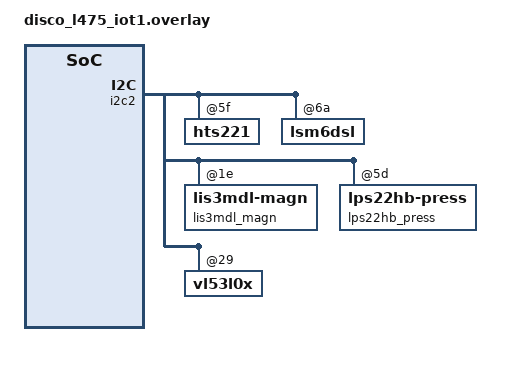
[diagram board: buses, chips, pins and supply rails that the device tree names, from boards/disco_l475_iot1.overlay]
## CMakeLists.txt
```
# Copyright 2020-2025 AVSystem <avsystem@avsystem.com>
#
# Licensed under the Apache License, Version 2.0 (the "License");
# you may not use this file except in compliance with the License.
# You may obtain a copy of the License at
#
#     http://www.apache.org/licenses/LICENSE-2.0
#
# Unless required by applicable law or agreed to in writing, software
# distributed under the License is distributed on an "AS IS" BASIS,
# WITHOUT WARRANTIES OR CONDITIONS OF ANY KIND, either express or implied.
# See the License for the specific language governing permissions and
# limitations under the License.

cmake_minimum_required(VERSION 3.13.1)
find_package(Zephyr REQUIRED HINTS $ENV{ZEPHYR_BASE})
project(anjay_zephyr_demo)
set(root_dir ${ANJAY_ZEPHYR_CLIENT_DIR})

if(CONFIG_PARTITION_MANAGER_ENABLED)
    if(CONFIG_ANJAY_ZEPHYR_FOTA)
        # defined in nrf/cmake/partition_manager.cmake
        if(NOT EXISTS "${static_configuration_file}")
            set(pm_missing_message "Missing static partition manager file for board: ${BOARD}")

            if(ACTIVE_BOARD_REVISION)
                set(pm_missing_message "${pm_missing_message}, rev: ${ACTIVE_BOARD_REVISION}")
            endif()

            if(CONF_FILE_BUILD_TYPE)
                set(pm_missing_message "${pm_missing_message}, build type: ${CONF_FILE_BUILD_TYPE}")
            endif()

            if(NOT SKIP_PM_CHECK)
                message(FATAL_ERROR "${pm_missing_message}. If you want to skip this warning, temporarily pass -DSKIP_PM_CHECK=ON to CMake args.")
            endif()
        endif()
    endif()
endif()

if(CONFIG_ANJAY_ZEPHYR_FACTORY_PROVISIONING_INITIAL_FLASH)
    set(app_sources
        src/factory_provisioning/factory_flash.c
        src/factory_provisioning/factory_flash.h
        src/factory_provisioning/provisioning_app.c)
else()
    set(app_sources
        src/main_app.c
        src/sensors_config.c
        src/sensors_config.h
        src/status_led.c
        src/status_led.h
        src/peripherals.h)
endif()

target_sources(app PRIVATE
               ${app_sources})
```

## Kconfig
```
menu "anjay-zephyr-client-app"

endmenu

source "Kconfig.zephyr"
```

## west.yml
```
# Copyright 2020-2025 AVSystem <avsystem@avsystem.com>
#
# Licensed under the Apache License, Version 2.0 (the "License");
# you may not use this file except in compliance with the License.
# You may obtain a copy of the License at
#
#     http://www.apache.org/licenses/LICENSE-2.0
#
# Unless required by applicable law or agreed to in writing, software
# distributed under the License is distributed on an "AS IS" BASIS,
# WITHOUT WARRANTIES OR CONDITIONS OF ANY KIND, either express or implied.
# See the License for the specific language governing permissions and
# limitations under the License.

# Manifest for zephyr based samples
manifest:
  remotes:
  - name: anjay
    url-base: https://github.com/AVSystem
  - name: zephyrproject-rtos
    url-base: https://github.com/zephyrproject-rtos
  projects:
  - name: zephyr
    path: zephyr
    remote: zephyrproject-rtos
    revision: v3.6.0
    import: true
  - name: Anjay-zephyr
    submodules: true
    remote: anjay
    revision: 3.11.0
    path: modules/lib/anjay
```

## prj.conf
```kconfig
# Anjay Settings
CONFIG_ANJAY=y

# General settings
CONFIG_NEWLIB_LIBC=y
CONFIG_NEWLIB_LIBC_NANO=y
CONFIG_NEWLIB_LIBC_FLOAT_PRINTF=y
CONFIG_LOG=y
CONFIG_REBOOT=y
CONFIG_FPU=y
CONFIG_PRINTK=y
CONFIG_SHELL=y

# Networking
CONFIG_NETWORKING=y
CONFIG_NET_MGMT=y
CONFIG_NET_MGMT_EVENT=y
CONFIG_NET_SOCKETS=y
CONFIG_NET_IPV4=y
CONFIG_NET_IPV6=n
CONFIG_NET_TCP=n
CONFIG_NET_LOG=y

# Logging
CONFIG_LOG_MODE_DEFERRED=y
CONFIG_LOG_BLOCK_IN_THREAD=y

# Config menu
CONFIG_HWINFO=y

# Storage
CONFIG_FLASH=y
CONFIG_FLASH_MAP=y
CONFIG_NVS=y
CONFIG_SETTINGS=y
CONFIG_FLASH_LOG_LEVEL_ERR=y
```

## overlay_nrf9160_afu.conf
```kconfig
CONFIG_ANJAY_ZEPHYR_FOTA=n
CONFIG_ANJAY_ZEPHYR_ADVANCED_FOTA_NRF9160_APP_DELTA_MODEM=y
```

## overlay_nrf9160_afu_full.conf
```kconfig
CONFIG_ANJAY_ZEPHYR_FOTA=n
CONFIG_ANJAY_ZEPHYR_ADVANCED_FOTA_NRF9160_APP_DELTA_FULL_MODEM=y
```

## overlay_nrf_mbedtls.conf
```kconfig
CONFIG_ANJAY_COMPAT_ZEPHYR_TLS=n
CONFIG_ANJAY_COMPAT_MBEDTLS=y

CONFIG_NORDIC_SECURITY_BACKEND=n
CONFIG_OBERON_BACKEND=n

CONFIG_MBEDTLS_TLS_LIBRARY=y
CONFIG_MBEDTLS_ENTROPY_C=y
CONFIG_MBEDTLS_CIPHER_MODE_CBC=y
CONFIG_MBEDTLS_DHM_C=y
CONFIG_MBEDTLS_CTR_DRBG_C=y
CONFIG_MBEDTLS_CCM_C=y
CONFIG_MBEDTLS_ECP_C=y
CONFIG_MBEDTLS_LEGACY_CRYPTO_C=y
CONFIG_MBEDTLS_ECP_DP_SECP384R1_ENABLED=y
CONFIG_MBEDTLS_ECP_DP_SECP256R1_ENABLED=y
CONFIG_MBEDTLS_PEM_CERTIFICATE_FORMAT=y
CONFIG_ANJAY_ZEPHYR_RUNTIME_CERT_CONFIG=y
CONFIG_MBEDTLS_SSL_DTLS_CONNECTION_ID=y
```

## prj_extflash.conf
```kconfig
# Anjay Settings
CONFIG_ANJAY=y

# Anjay Zephyr Settings
CONFIG_ANJAY_ZEPHYR_SHELL=y
CONFIG_ANJAY_ZEPHYR_FACTORY_PROVISIONING=n

# Monitoring (uncomment if needed)
# CONFIG_THREAD_ANALYZER=y
# CONFIG_THREAD_ANALYZER_AUTO=y
# CONFIG_THREAD_ANALYZER_AUTO_INTERVAL=60
# CONFIG_THREAD_ANALYZER_AUTO_STACK_SIZE=1024
# CONFIG_THREAD_ANALYZER_USE_LOG=y
# CONFIG_THREAD_NAME=y

# General settings
CONFIG_LOG=y
CONFIG_REBOOT=y
CONFIG_FPU=y
CONFIG_PRINTK=y
CONFIG_SHELL=y

# Networking
CONFIG_NETWORKING=y
CONFIG_NET_MGMT=y
CONFIG_NET_MGMT_EVENT=y
CONFIG_NET_SOCKETS=y
CONFIG_NET_IPV4=y
CONFIG_NET_IPV6=n
CONFIG_NET_TCP=y
CONFIG_NET_LOG=y

# Logging
CONFIG_LOG_MODE_DEFERRED=y
CONFIG_LOG_BLOCK_IN_THREAD=y

# Config menu
CONFIG_HWINFO=y
CONFIG_CONSOLE_SUBSYS=y
CONFIG_CONSOLE_GETLINE=y

# Storage
CONFIG_FLASH=y
CONFIG_FLASH_MAP=y
CONFIG_NVS=y
CONFIG_SETTINGS=y
CONFIG_FLASH_LOG_LEVEL_ERR=y

# External flash
CONFIG_PM_EXTERNAL_FLASH_MCUBOOT_SECONDARY=y
```

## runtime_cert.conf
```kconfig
CONFIG_ANJAY_ZEPHYR_RUNTIME_CERT_CONFIG=y
CONFIG_MBEDTLS_ECP_DP_SECP384R1_ENABLED=y
CONFIG_MBEDTLS_ECP_DP_SECP256R1_ENABLED=y
CONFIG_MBEDTLS_PEM_CERTIFICATE_FORMAT=y
```

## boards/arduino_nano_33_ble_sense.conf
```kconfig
# anjay-zephyr-client
CONFIG_ANJAY_ZEPHYR_DEVICE_MANUFACTURER="Arduino"
CONFIG_ANJAY_ZEPHYR_MODEL_NUMBER="arduino_nano_33_ble"

# Anjay Settings
CONFIG_ANJAY_COMPAT_TIME=y
CONFIG_ANJAY_COMPAT_MBEDTLS=y
CONFIG_ANJAY_COMPAT_NET=y

# General Settings
CONFIG_MAIN_STACK_SIZE=2048
CONFIG_SYSTEM_WORKQUEUE_STACK_SIZE=2048

# Logging
CONFIG_LOG_BLOCK_IN_THREAD=y
CONFIG_LOG_MODE_DEFERRED=y

# Clock synchronization
CONFIG_DATE_TIME=y
CONFIG_DATE_TIME_AUTO_UPDATE=n

# Networking
CONFIG_NET_IPV4=n
CONFIG_NET_IPV6=y
CONFIG_NET_IPV6_NBR_CACHE=n
CONFIG_NET_IPV6_MLD=n
CONFIG_NET_CONFIG_NEED_IPV4=n
CONFIG_NET_MGMT_EVENT_INFO=y
CONFIG_NET_L2_OPENTHREAD=y

# DNS
CONFIG_DNS_RESOLVER=y
CONFIG_DNS_SERVER_IP_ADDRESSES=y
CONFIG_DNS_SERVER1="fdaa:bb:1::2"

# OpenThread
CONFIG_OPENTHREAD_JOINER=y
CONFIG_OPENTHREAD_JOINER_AUTOSTART=y
CONFIG_OPENTHREAD_MANUAL_START=y
CONFIG_OPENTHREAD_SLAAC=y
CONFIG_OPENTHREAD_JOINER_PSKD="J01NME"
CONFIG_OPENTHREAD_FTD=y

# MbedTLS and security
CONFIG_MBEDTLS_LEGACY_CRYPTO_C=y
CONFIG_MBEDTLS_CTR_DRBG_C=y
CONFIG_MBEDTLS_KEY_EXCHANGE_ECDHE_ECDSA_ENABLED=y
CONFIG_MBEDTLS_HEAP_SIZE=15360

# Sensors
CONFIG_I2C=y
CONFIG_SENSOR=y
CONFIG_LPS22HB=y
CONFIG_APDS9960=y

# Shell settings
CONFIG_SHELL_MINIMAL=y
CONFIG_SHELL_WILDCARD=n
CONFIG_SHELL_VT100_COMMANDS=y
CONFIG_SHELL_VT100_COLORS=n
CONFIG_SHELL_STATS=n
CONFIG_SHELL_CMDS=n
CONFIG_SHELL_TAB=y
CONFIG_SHELL_TAB_AUTOCOMPLETION=y
CONFIG_SHELL_CMDS_RESIZE=n
CONFIG_DEVICE_SHELL=n
CONFIG_DATE_SHELL=n
CONFIG_DEVMEM_SHELL=n
CONFIG_MCUBOOT_SHELL=n
CONFIG_KERNEL_SHELL=y
CONFIG_OPENTHREAD_SHELL=y
```

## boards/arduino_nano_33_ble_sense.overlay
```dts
/ {
    aliases {
        barometer = &lps22hb_press;
        temperature = &lps22hb_press;
        status-led = &led1;
    };
};

&i2c1 {
    lps22hb_press: lps22hb-press@5c {};
	apds9960: apds9960@39 {};
};
```

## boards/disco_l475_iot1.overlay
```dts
/ {
    aliases {
        temperature = &hts221;
        humidity = &hts221;
        accelerometer = &lsm6dsl;
        magnetometer = &lis3mdl_magn;
        barometer = &lps22hb_press;
        distance = &vl53l0x;
        gyrometer = &lsm6dsl;
        push-button-0 = &user_button;
        status-led = &green_led_1;
    };
};

&i2c2 {
    hts221: hts221@5f {};
    lsm6dsl: lsm6dsl@6a {};
    lis3mdl_magn: lis3mdl-magn@1e {};
    lps22hb_press: lps22hb-press@5d {};
    vl53l0x: vl53l0x@29 {};
};
```

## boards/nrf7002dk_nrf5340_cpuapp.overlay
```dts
/ {
    aliases {
        push-button-0 = &button0;
        push-button-1 = &button1;
        status-led = &led0;
        light-control-0 = &led1;
    };
};
```

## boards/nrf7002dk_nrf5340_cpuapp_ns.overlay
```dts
/ {
    aliases {
        push-button-0 = &button0;
        push-button-1 = &button1;
        status-led = &led0;
        light-control-0 = &led1;
    };

    chosen {
        nordic,pm-ext-flash = &mx25r64;
    };
};

&mx25r64 {
    status = "ok";
};
```

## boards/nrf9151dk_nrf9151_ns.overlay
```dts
/ {
    aliases {
        push-button-0 = &button0;
        push-button-1 = &button1;
        switch-0 = &button2;
        switch-1 = &button3;
        status-led = &led0;
    };

	/* Configure partition manager to use gd25wb256 as the external flash */
	chosen {
		nordic,pm-ext-flash = &gd25wb256;
	};
};

&gd25wb256 {
	status = "okay";
};
```

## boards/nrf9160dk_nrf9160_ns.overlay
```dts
/ {
    aliases {
        push-button-0 = &button2;
        push-button-1 = &button3;
        switch-0 = &button0;
        switch-1 = &button1;
        status-led = &led0;
    };
};
```

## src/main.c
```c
/*
 * Copyright 2020-2022 AVSystem <avsystem@avsystem.com>
 *
 * Licensed under the Apache License, Version 2.0 (the "License");
 * you may not use this file except in compliance with the License.
 * You may obtain a copy of the License at
 *
 *     http://www.apache.org/licenses/LICENSE-2.0
 *
 * Unless required by applicable law or agreed to in writing, software
 * distributed under the License is distributed on an "AS IS" BASIS,
 * WITHOUT WARRANTIES OR CONDITIONS OF ANY KIND, either express or implied.
 * See the License for the specific language governing permissions and
 * limitations under the License.
 */

#include <devicetree.h>
#include <stdlib.h>
#include <sys/printk.h>
#include <version.h>

#include <net/dns_resolve.h>
#include <net/sntp.h>
#include <posix/time.h>

#include <anjay/anjay.h>
#include <anjay/access_control.h>
#include <anjay/attr_storage.h>
#include <anjay/security.h>
#include <anjay/server.h>

#include <avsystem/commons/avs_log.h>
#include <avsystem/commons/avs_prng.h>
#include <avsystem/commons/avs_crypto_psk.h>

#include "common.h"
#include "config.h"
#include "default_config.h"
#include "firmware_update.h"
#include "gps.h"
#include "utils.h"
#include "persistence.h"
#include "status_led.h"
#include "objects/objects.h"

#ifdef CONFIG_WIFI
#ifdef CONFIG_WIFI_ESWIFI
#include <wifi/eswifi/eswifi.h>
#endif // CONFIG_WIFI_ESWIFI
#include <net/wifi.h>
#include <net/wifi_mgmt.h>
#else // CONFIG_WIFI
#include <modem/lte_lc.h>
#endif // CONFIG_WIFI

#if defined(CONFIG_BOARD_NRF9160DK_NRF9160_NS) || defined(CONFIG_BOARD_THINGY91_NRF9160_NS)
#include <date_time.h>
#endif // defined(CONFIG_BOARD_NRF9160DK_NRF9160_NS) || defined(CONFIG_BOARD_THINGY91_NRF9160_NS)

#ifdef CONFIG_ANJAY_CLIENT_NRF_LC_INFO
#include "nrf_lc_info.h"
#endif // CONFIG_ANJAY_CLIENT_NRF_LC_INFO

static const anjay_dm_object_def_t **buzzer_obj;
static const anjay_dm_object_def_t **device_obj;
static const anjay_dm_object_def_t **led_color_light_obj;
static const anjay_dm_object_def_t **location_obj;
static const anjay_dm_object_def_t **switch_obj;

#ifdef CONFIG_ANJAY_CLIENT_NRF_LC_INFO
static const anjay_dm_object_def_t **conn_mon_obj;
static const anjay_dm_object_def_t **ecid_obj;
#endif // CONFIG_ANJAY_CLIENT_NRF_LC_INFO

#ifdef CONFIG_ANJAY_CLIENT_LOCATION_SERVICES
static const anjay_dm_object_def_t **loc_assist_obj;
#endif // CONFIG_ANJAY_CLIENT_LOCATION_SERVICES

static avs_sched_handle_t update_objects_handle;

volatile atomic_bool device_initialized;

anjay_t *volatile global_anjay;
K_MUTEX_DEFINE(global_anjay_mutex);
volatile atomic_bool anjay_running;

struct k_thread anjay_thread;
volatile bool anjay_thread_running;
K_MUTEX_DEFINE(anjay_thread_running_mutex);
K_CONDVAR_DEFINE(anjay_thread_running_condvar);
K_THREAD_STACK_DEFINE(anjay_stack, ANJAY_THREAD_STACK_SIZE);

#if defined(CONFIG_NRF_MODEM_LIB) && defined(CONFIG_MODEM_KEY_MGMT)
// The only parameters needed to address a credential stored in the modem
// are its type and its security tag - the type is defined already by
// the proper function being called, so the query contains only a single
// integer - the desired security tag.
static const char *PSK_QUERY = "1";
#endif // defined(CONFIG_NRF_MODEM_LIB) && defined(CONFIG_MODEM_KEY_MGMT)

#ifdef CONFIG_BOARD_DISCO_L475_IOT1
static void set_system_time(const struct sntp_time *time)
{
	struct timespec ts = { .tv_sec = time->seconds,
			       .tv_nsec = ((uint64_t)time->fraction * 1000000000) >> 32 };
	if (clock_settime(CLOCK_REALTIME, &ts)) {
		avs_log(zephyr_demo, WARNING, "Failed to set time");
	}
}
#else // CONFIG_BOARD_DISCO_L475_IOT1
static void set_system_time(const struct sntp_time *time)
{
	const struct tm *current_time = gmtime(&time->seconds);

	date_time_set(current_time);
	date_time_update_async(NULL);
}
#endif // CONFIG_BOARD_DISCO_L475_IOT1

void synchronize_clock(void)
{
	struct sntp_time time;
	const uint32_t timeout_ms = 5000;

	if (sntp_simple(NTP_SERVER, timeout_ms, &time)) {
		avs_log(zephyr_demo, WARNING, "Failed to get current time");
	} else {
		set_system_time(&time);
	}
}

static int register_objects(anjay_t *anjay)
{
	device_obj = device_object_create();
	if (!device_obj || anjay_register_object(anjay, device_obj)) {
		return -1;
	}

	basic_sensors_install(anjay);
	three_axis_sensors_install(anjay);
	push_button_object_install(anjay);

	buzzer_obj = buzzer_object_create();
	if (buzzer_obj) {
		anjay_register_object(anjay, buzzer_obj);
	}

	led_color_light_obj = led_color_light_object_create();
	if (led_color_light_obj) {
		anjay_register_object(anjay, led_color_light_obj);
	}

	location_obj = location_object_create();
	if (location_obj) {
		anjay_register_object(anjay, location_obj);
	}

	switch_obj = switch_object_create();
	if (switch_obj) {
		anjay_register_object(anjay, switch_obj);
	}

#ifdef CONFIG_ANJAY_CLIENT_NRF_LC_INFO
	struct nrf_lc_info nrf_lc_info;

	nrf_lc_info_get(&nrf_lc_info);

	conn_mon_obj = conn_mon_object_create(&nrf_lc_info);
	if (conn_mon_obj) {
		anjay_register_object(anjay, conn_mon_obj);
	}

	ecid_obj = ecid_object_create(&nrf_lc_info);
	if (ecid_obj) {
		anjay_register_object(anjay, ecid_obj);
	}
#endif // CONFIG_ANJAY_CLIENT_NRF_LC_INFO

#ifdef CONFIG_ANJAY_CLIENT_LOCATION_SERVICES
	loc_assist_obj = loc_assist_object_create();
	if (loc_assist_obj) {
		anjay_register_object(anjay, loc_assist_obj);
	}
#endif // CONFIG_ANJAY_CLIENT_LOCATION_SERVICES

	return 0;
}

static void update_objects_frequent(anjay_t *anjay)
{
	device_object_update(anjay, device_obj);
	switch_object_update(anjay, switch_obj);
	buzzer_object_update(anjay, buzzer_obj);
}

static void update_objects_periodic(anjay_t *anjay)
{
	basic_sensors_update(anjay);
	three_axis_sensors_update(anjay);
	location_object_update(anjay, location_obj);
}

#ifdef CONFIG_ANJAY_CLIENT_NRF_LC_INFO
static void update_objects_nrf_lc_info(anjay_t *anjay, const struct nrf_lc_info *nrf_lc_info)
{
	conn_mon_object_update(anjay, conn_mon_obj, nrf_lc_info);
	ecid_object_update(anjay, ecid_obj, nrf_lc_info);
}
#endif // CONFIG_ANJAY_CLIENT_NRF_LC_INFO

#ifdef CONFIG_ANJAY_CLIENT_LOCATION_SERVICES_MANUAL_CELL_BASED
void cell_request_job(avs_sched_t *sched, const void *cell_request_job_args_ptr)
{
	struct cell_request_job_args args =
		*(const struct cell_request_job_args *)cell_request_job_args_ptr;
	loc_assist_object_send_cell_request(args.anjay, loc_assist_obj, ecid_obj,
					    args.request_type);
}
#endif // CONFIG_ANJAY_CLIENT_LOCATION_SERVICES_MANUAL_CELL_BASED

static void update_objects(avs_sched_t *sched, const void *anjay_ptr)
{
	anjay_t *anjay = *(anjay_t *const *)anjay_ptr;

	static size_t cycle;

	update_objects_frequent(anjay);
	if (cycle % 5 == 0) {
		update_objects_periodic(anjay);
	}

#ifdef CONFIG_ANJAY_CLIENT_NRF_LC_INFO
	struct nrf_lc_info nrf_lc_info;

	if (nrf_lc_info_get_if_changed(&nrf_lc_info)) {
		update_objects_nrf_lc_info(anjay, &nrf_lc_info);
	}
#endif // CONFIG_ANJAY_CLIENT_NRF_LC_INFO

#ifdef CONFIG_ANJAY_CLIENT_GPS_NRF_A_GPS
	uint32_t request_mask = gps_fetch_modem_agps_request_mask();

	if (request_mask) {
		loc_assist_object_send_agps_request(anjay, loc_assist_obj, request_mask);
	}
#endif // CONFIG_ANJAY_CLIENT_GPS_NRF_A_GPS

#ifdef CONFIG_ANJAY_CLIENT_PERSISTENCE
	if (config_is_use_persistence() && persist_anjay_if_required(anjay)) {
		avs_log(zephyr_demo, ERROR, "Couldn't persist Anjay's state!");
	}
#endif // CONFIG_ANJAY_CLIENT_PERSISTENCE

	status_led_toggle();

	cycle++;
	AVS_SCHED_DELAYED(sched, &update_objects_handle,
			  avs_time_duration_from_scalar(1, AVS_TIME_S), update_objects, &anjay,
			  sizeof(anjay));
}

static void release_objects(void)
{
	buzzer_object_release(&buzzer_obj);
	device_object_release(&device_obj);
	led_color_light_object_release(&led_color_light_obj);
	location_object_release(&location_obj);
	switch_object_release(&switch_obj);

#ifdef CONFIG_ANJAY_CLIENT_NRF_LC_INFO
	conn_mon_object_release(&conn_mon_obj);
	ecid_object_release(&ecid_obj);
#endif // CONFIG_ANJAY_CLIENT_NRF_LC_INFO

#ifdef CONFIG_ANJAY_CLIENT_LOCATION_SERVICES
	loc_assist_object_release(&loc_assist_obj);
#endif // CONFIG_ANJAY_CLIENT_LOCATION_SERVICES
}

void initialize_network(void)
{
	avs_log(zephyr_demo, INFO, "Initializing network connection...");
#ifdef CONFIG_WIFI
	struct net_if *iface = net_if_get_default();

#ifdef CONFIG_WIFI_ESWIFI
	struct eswifi_dev *eswifi = eswifi_by_iface_idx(0);

	assert(eswifi);
	// Set regulatory domain to "World Wide (passive Ch12-14)"; eS-WiFi defaults
	// to "US" which prevents connecting to networks that use channels 12-14.
	if (eswifi_at_cmd(eswifi, "CN=XV\r") < 0) {
		avs_log(zephyr_demo, WARNING, "Failed to set Wi-Fi regulatory domain");
	}
#endif // CONFIG_WIFI_ESWIFI

	struct wifi_connect_req_params wifi_params = { .ssid = (uint8_t *)config_get_wifi_ssid(),
						       .ssid_length =
							       strlen(config_get_wifi_ssid()),
						       .psk = (uint8_t *)config_get_wifi_password(),
						       .psk_length =
							       strlen(config_get_wifi_password()),
						       .security = WIFI_SECURITY_TYPE_PSK };

	if (net_mgmt(NET_REQUEST_WIFI_CONNECT, iface, &wifi_params,
		     sizeof(struct wifi_connect_req_params))) {
		avs_log(zephyr_demo, ERROR, "Failed to configure Wi-Fi");
		exit(1);
	}

	net_mgmt_event_wait_on_iface(iface, NET_EVENT_IPV4_ADDR_ADD, NULL, NULL, NULL, K_FOREVER);
#else // CONFIG_WIFI
	int ret = lte_lc_init_and_connect();

	if (ret < 0) {
		avs_log(zephyr_demo, ERROR, "LTE link could not be established.");
		exit(1);
	}
#endif // CONFIG_WIFI
	avs_log(zephyr_demo, INFO, "Connected to network");
}

static anjay_t *initialize_anjay(void)
{
	const anjay_configuration_t config = {
		.endpoint_name = config_get_endpoint_name(),
		.in_buffer_size = 4000,
		.out_buffer_size = 4000,
		.udp_dtls_hs_tx_params =
			&(const avs_net_dtls_handshake_timeouts_t){
				// Change the default DTLS handshake parameters so that "anjay stop"
				// is more responsive; note that an exponential backoff is
				// implemented, so the maximum of 8 seconds adds up to up to 15
				// seconds in total.
				.min = { .seconds = 1, .nanoseconds = 0 },
				.max = { .seconds = 8, .nanoseconds = 0 } },
		.disable_legacy_server_initiated_bootstrap = true
	};

	anjay_t *anjay = anjay_new(&config);

	if (!anjay) {
		avs_log(zephyr_demo, ERROR, "Could not create Anjay object");
		return NULL;
	}

	if (anjay_security_object_install(anjay) ||
	    anjay_server_object_install(anjay)
#ifdef CONFIG_ANJAY_CLIENT_PERSISTENCE
	    // Access Control object is necessary if Server Object with many servers is loaded
	    || anjay_access_control_install(anjay)
#endif // CONFIG_ANJAY_CLIENT_PERSISTENCE
	) {
		avs_log(zephyr_demo, ERROR, "Failed to install necessary modules");
		goto error;
	}

#ifdef CONFIG_ANJAY_CLIENT_FOTA
	if (fw_update_install(anjay)) {
		avs_log(zephyr_demo, ERROR, "Failed to initialize fw update module");
		goto error;
	}
#endif // CONFIG_ANJAY_CLIENT_FOTA

	if (register_objects(anjay)) {
		avs_log(zephyr_demo, ERROR, "Failed to initialize objects");
		goto error;
	}

#ifdef CONFIG_ANJAY_CLIENT_PERSISTENCE
	if (config_is_use_persistence() && !restore_anjay_from_persistence(anjay)) {
		return anjay;
	}
#endif // CONFIG_ANJAY_CLIENT_PERSISTENCE

	const bool bootstrap = config_is_bootstrap();

#if defined(CONFIG_NRF_MODEM_LIB) && defined(CONFIG_MODEM_KEY_MGMT)
	const char *psk_key = config_get_psk();
	avs_crypto_psk_key_info_t psk_key_info =
		avs_crypto_psk_key_info_from_buffer(psk_key, strlen(psk_key));
	if (avs_is_err(avs_crypto_psk_engine_key_store(PSK_QUERY, &psk_key_info))) {
		avs_log(zephyr_demo, ERROR, "Storing PSK key failed");
		goto error;
	}
	avs_crypto_psk_identity_info_t identity_info = avs_crypto_psk_identity_info_from_buffer(
		config.endpoint_name, strlen(config.endpoint_name));
	if (avs_is_err(avs_crypto_psk_engine_identity_store(PSK_QUERY, &identity_info))) {
		avs_log(zephyr_demo, ERROR, "Storing PSK identity failed");
		goto error;
	}
#endif // defined(CONFIG_NRF_MODEM_LIB) && defined(CONFIG_MODEM_KEY_MGMT)

	const anjay_security_instance_t security_instance = {
		.ssid = 1,
		.bootstrap_server = bootstrap,
		.server_uri = config_get_server_uri(),
		.security_mode = ANJAY_SECURITY_PSK,
#if defined(CONFIG_NRF_MODEM_LIB) && defined(CONFIG_MODEM_KEY_MGMT)
		.psk_identity = avs_crypto_psk_identity_info_from_engine(PSK_QUERY),
		.psk_key = avs_crypto_psk_key_info_from_engine(PSK_QUERY),
#else // defined(CONFIG_NRF_MODEM_LIB) && defined(CONFIG_MODEM_KEY_MGMT)
		.public_cert_or_psk_identity = config.endpoint_name,
		.public_cert_or_psk_identity_size =
			strlen(security_instance.public_cert_or_psk_identity),
		.private_cert_or_psk_key = config_get_psk(),
		.private_cert_or_psk_key_size = strlen(security_instance.private_cert_or_psk_key)
#endif // defined(CONFIG_NRF_MODEM_LIB) && defined(CONFIG_MODEM_KEY_MGMT)
	};

	const anjay_server_instance_t server_instance = { .ssid = 1,
							  .lifetime = config_get_lifetime(),
							  .default_min_period = -1,
							  .default_max_period = -1,
							  .disable_timeout = -1,
							  .binding = "U" };

	anjay_iid_t security_instance_id = ANJAY_ID_INVALID;

	if (anjay_security_object_add_instance(anjay, &security_instance, &security_instance_id)) {
		avs_log(zephyr_demo, ERROR, "Failed to instantiate Security object");
		goto error;
	}

	if (!bootstrap) {
		anjay_iid_t server_instance_id = ANJAY_ID_INVALID;

		if (anjay_server_object_add_instance(anjay, &server_instance,
						     &server_instance_id)) {
			avs_log(zephyr_demo, ERROR, "Failed to instantiate Server object");
			goto error;
		}
	}

	return anjay;
error:
#if defined(CONFIG_NRF_MODEM_LIB) && defined(CONFIG_MODEM_KEY_MGMT)
	if (avs_is_err(avs_crypto_psk_engine_key_rm(PSK_QUERY))) {
		avs_log(zephyr_demo, WARNING, "Removing PSK key failed");
	}
	if (avs_is_err(avs_crypto_psk_engine_identity_rm(PSK_QUERY))) {
		avs_log(zephyr_demo, WARNING, "Removing PSK identity failed");
	}
#endif // defined(CONFIG_NRF_MODEM_LIB) && defined(CONFIG_MODEM_KEY_MGMT)
	anjay_delete(anjay);
	release_objects();
	return NULL;
}

void run_anjay(void *arg1, void *arg2, void *arg3)
{
	ARG_UNUSED(arg1);
	ARG_UNUSED(arg2);
	ARG_UNUSED(arg3);

	anjay_t *anjay = initialize_anjay();

	if (anjay) {
		avs_log(zephyr_demo, INFO, "Successfully created thread");

		SYNCHRONIZED(global_anjay_mutex)
		{
			global_anjay = anjay;
		}

		// anjay stop could be called immediately after anjay start
		if (atomic_load(&anjay_running)) {
			update_objects(anjay_get_scheduler(anjay), &anjay);
			anjay_event_loop_run(anjay, avs_time_duration_from_scalar(1, AVS_TIME_S));
		}

		avs_sched_del(&update_objects_handle);
#ifdef CONFIG_ANJAY_CLIENT_PERSISTENCE
		if (config_is_use_persistence() && persist_anjay_if_required(anjay)) {
			avs_log(zephyr_demo, ERROR, "Couldn't persist Anjay's state!");
		}
#endif // CONFIG_ANJAY_CLIENT_PERSISTENCE

		SYNCHRONIZED(global_anjay_mutex)
		{
			global_anjay = NULL;
		}
		anjay_delete(anjay);
		release_objects();

#if defined(CONFIG_NRF_MODEM_LIB) && defined(CONFIG_MODEM_KEY_MGMT)
		if (avs_is_err(avs_crypto_psk_engine_key_rm(PSK_QUERY))) {
			avs_log(zephyr_demo, WARNING, "Removing PSK key failed");
		}
		if (avs_is_err(avs_crypto_psk_engine_identity_rm(PSK_QUERY))) {
			avs_log(zephyr_demo, WARNING, "Removing PSK identity failed");
		}
#endif // defined(CONFIG_NRF_MODEM_LIB) && defined(CONFIG_MODEM_KEY_MGMT)

#ifdef CONFIG_ANJAY_CLIENT_FOTA
		if (fw_update_requested()) {
			fw_update_reboot();
		}
#endif // CONFIG_ANJAY_CLIENT_FOTA
	}

	SYNCHRONIZED(anjay_thread_running_mutex)
	{
		anjay_thread_running = false;
		k_condvar_broadcast(&anjay_thread_running_condvar);
	}
}

void main(void)
{
	config_init(shell_backend_uart_get_ptr());

#ifdef CONFIG_ANJAY_CLIENT_PERSISTENCE
	if (persistence_init()) {
		avs_log(zephyr_demo, ERROR, "Can't initialize persistence");
	}
#endif // CONFIG_ANJAY_CLIENT_PERSISTENCE

	status_led_init();

	initialize_network();

#ifdef CONFIG_ANJAY_CLIENT_GPS
	initialize_gps();
#endif // CONFIG_ANJAY_CLIENT_GPS

#ifdef CONFIG_ANJAY_CLIENT_FOTA
	fw_update_apply();
#endif // CONFIG_ANJAY_CLIENT_FOTA

#ifdef CONFIG_ANJAY_CLIENT_NRF_LC_INFO
	if (initialize_nrf_lc_info_listener()) {
		avs_log(zephyr_demo, ERROR, "Can't initialize Link Control info listener");
		exit(1);
	}
#endif // CONFIG_ANJAY_CLIENT_NRF_LC_INFO

	synchronize_clock();

	atomic_store(&device_initialized, true);
	atomic_store(&anjay_running, true);

	while (true) {
		if (atomic_load(&anjay_running)) {
			SYNCHRONIZED(anjay_thread_running_mutex)
			{
				k_thread_create(&anjay_thread, anjay_stack, ANJAY_THREAD_STACK_SIZE,
						run_anjay, NULL, NULL, NULL, ANJAY_THREAD_PRIO, 0,
						K_NO_WAIT);
				anjay_thread_running = true;

				while (anjay_thread_running) {
					k_condvar_wait(&anjay_thread_running_condvar,
						       &anjay_thread_running_mutex, K_FOREVER);
				}

				k_thread_join(&anjay_thread, K_FOREVER);
			}

			shell_print(shell_backend_uart_get_ptr(), "Anjay stopped");
		} else {
			k_sleep(K_SECONDS(1));
		}
	}
}
```

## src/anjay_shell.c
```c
/*
 * Copyright 2020-2022 AVSystem <avsystem@avsystem.com>
 *
 * Licensed under the Apache License, Version 2.0 (the "License");
 * you may not use this file except in compliance with the License.
 * You may obtain a copy of the License at
 *
 *     http://www.apache.org/licenses/LICENSE-2.0
 *
 * Unless required by applicable law or agreed to in writing, software
 * distributed under the License is distributed on an "AS IS" BASIS,
 * WITHOUT WARRANTIES OR CONDITIONS OF ANY KIND, either express or implied.
 * See the License for the specific language governing permissions and
 * limitations under the License.
 */

#include "common.h"
#include "config.h"
#include "utils.h"
#include "persistence.h"

#include "network/network.h"

static int cmd_anjay_start(const struct shell *shell, size_t argc, char **argv)
{
	ARG_UNUSED(argc);
	ARG_UNUSED(argv);

	if (!atomic_load(&device_initialized)) {
		shell_warn(shell, "Cannot start Anjay - device initialization is ongoing "
				  "(perhaps it hasn't connected to network yet)");
		return 0;
	}

	if (!atomic_load(&anjay_running)) {
#ifdef WITH_ANJAY_CLIENT_CONFIG
		shell_print(shell, "Saving config");
		config_save(shell_backend_uart_get_ptr());
#endif // WITH_ANJAY_CLIENT_CONFIG
		shell_print(shell, "Starting Anjay");
		atomic_store(&anjay_running, true);
	} else {
		shell_warn(shell, "Cannot start Anjay - already running");
	}

	return 0;
}

static void interrupt_anjay(avs_sched_t *sched, const void *anjay_ptr)
{
	anjay_event_loop_interrupt(*(anjay_t *const *)anjay_ptr);
}

static int cmd_anjay_stop(const struct shell *shell, size_t argc, char **argv)
{
	ARG_UNUSED(argc);
	ARG_UNUSED(argv);

	if (atomic_load(&anjay_running)) {
		shell_print(shell, "Shutting down Anjay...");

		// change the flag first to interrupt the thread if event loop is not
		// running yet
		atomic_store(&anjay_running, false);
		network_interrupt_connect_wait_loop();

		SYNCHRONIZED(global_anjay_mutex)
		{
			if (global_anjay) {
				// hack to make sure that anjay_event_loop_interrupt() is called
				// only when the event loop is running
				anjay_t *anjay = global_anjay;

				AVS_SCHED_NOW(anjay_get_scheduler(anjay), NULL, interrupt_anjay,
					      &anjay, sizeof(anjay));
			}
		}

		SYNCHRONIZED(anjay_thread_running_mutex)
		{
			if (anjay_thread_running) {
				shell_print(shell, "Waiting for Anjay to stop...");
				shell_print(shell,
					    "If a DTLS handshake is in progress, it might take "
					    "up to 15 s for it to time out");
			}
			while (anjay_thread_running) {
				k_condvar_wait(&anjay_thread_running_condvar,
					       &anjay_thread_running_mutex, K_FOREVER);
			}
		}
	} else {
		shell_warn(shell, "Anjay is not running");
	}

	return 0;
}

#ifdef WITH_ANJAY_CLIENT_CONFIG
static int cmd_anjay_config_set(const struct shell *shell, size_t argc, char **argv)
{
	if (atomic_load(&anjay_running)) {
		shell_print(shell, "Cannot change the config while Anjay is running");
		return -1;
	}

	return config_set_option(shell, argc, argv);
}


static int cmd_anjay_config_default(const struct shell *shell, size_t argc, char **argv)
{
	ARG_UNUSED(argc);
	ARG_UNUSED(argv);

	if (atomic_load(&anjay_running)) {
		shell_print(shell, "Cannot change the config while Anjay is running");
		return -1;
	}

	config_default_init();
	return 0;
}

static int cmd_anjay_config_show(const struct shell *shell, size_t argc, char **argv)
{
	ARG_UNUSED(argc);
	ARG_UNUSED(argv);

	config_print_summary(shell);

	return 0;
}

static int cmd_anjay_config_save(const struct shell *shell, size_t argc, char **argv)
{
	ARG_UNUSED(argc);
	ARG_UNUSED(argv);

	shell_print(shell, "Saving config");
	config_save(shell_backend_uart_get_ptr());
	config_print_summary(shell);

	return 0;
}
#endif // WITH_ANJAY_CLIENT_CONFIG

#ifdef CONFIG_ANJAY_CLIENT_LOCATION_SERVICES_MANUAL_CELL_BASED
static int cmd_anjay_nls_cell_request(const struct shell *shell, size_t argc, char **argv,
				      void *data)
{
	SYNCHRONIZED(global_anjay_mutex)
	{
		if (global_anjay) {
			struct cell_request_job_args args = {
				.anjay = global_anjay,
				.request_type = (enum loc_assist_cell_request_type)(uintptr_t)data
			};
			AVS_SCHED_NOW(anjay_get_scheduler(global_anjay), NULL, cell_request_job,
				      &args, sizeof(args));
		} else {
			shell_warn(shell, "Anjay is not running");
		}
	}
	return 0;
}
#endif // CONFIG_ANJAY_CLIENT_LOCATION_SERVICES_MANUAL_CELL_BASED

#ifdef CONFIG_ANJAY_CLIENT_GPS_NRF_A_GPS
static int cmd_anjay_nls_agps_request(const struct shell *shell, size_t argc, char **argv,
				      void *data)
{
	ARG_UNUSED(argc);
	ARG_UNUSED(argv);

	SYNCHRONIZED(global_anjay_mutex)
	{
		if (global_anjay) {
			anjay_t *anjay = global_anjay;

			AVS_SCHED_NOW(anjay_get_scheduler(anjay), NULL, agps_request_job, &anjay,
				      sizeof(anjay));
		} else {
			shell_warn(shell, "Anjay is not running");
		}
	}
	return 0;
}
#endif // CONFIG_ANJAY_CLIENT_GPS_NRF_A_GPS

#ifdef CONFIG_ANJAY_CLIENT_PERSISTENCE
static int cmd_anjay_persistence_purge(const struct shell *shell, size_t argc, char **argv,
				       void *data)
{
	int err = 0;

	SYNCHRONIZED(global_anjay_mutex)
	{
		if (atomic_load(&anjay_running) || global_anjay) {
			shell_warn(shell, "Cannot purge persistence while Anjay is running");
		} else {
			err = persistence_purge();
			if (err) {
				shell_warn(shell, "Could not purge persistence");
			} else {
				shell_print(shell, "Successfully purged persistence");
			}
		}
	}
	return err;
}
#endif // CONFIG_ANJAY_CLIENT_PERSISTENCE

#if defined(CONFIG_NRF_MODEM_LIB) && defined(CONFIG_MODEM_KEY_MGMT)
static int cmd_anjay_session_cache_purge(const struct shell *shell, size_t argc, char **argv)
{
	ARG_UNUSED(argc);
	ARG_UNUSED(argv);

	int err = tls_session_cache_purge();

	if (err) {
		shell_warn(shell, "Could not purge the TLS session cache");
	} else {
		shell_print(shell, "Successfully purged the TLS session cache");
	}

	return err;
}
#endif // defined(CONFIG_NRF_MODEM_LIB) && defined(CONFIG_MODEM_KEY_MGMT)

#ifdef WITH_ANJAY_CLIENT_CONFIG
SHELL_STATIC_SUBCMD_SET_CREATE(
	sub_anjay_config_set,
#ifndef CONFIG_ANJAY_CLIENT_FACTORY_PROVISIONING
	SHELL_CMD(OPTION_KEY_EP_NAME, NULL, "Endpoint name", cmd_anjay_config_set),
#endif // CONFIG_ANJAY_CLIENT_FACTORY_PROVISIONING
#ifdef CONFIG_WIFI
	SHELL_CMD(OPTION_KEY_SSID, NULL, "Wi-Fi SSID", cmd_anjay_config_set),
	SHELL_CMD(OPTION_KEY_PASSWORD, NULL, "Wi-Fi password (empty for no-sec)",
		  cmd_anjay_config_set),
#endif // CONFIG_WIFI
#ifndef CONFIG_ANJAY_CLIENT_FACTORY_PROVISIONING
	SHELL_CMD(OPTION_KEY_URI, NULL, "Server URI", cmd_anjay_config_set),
	SHELL_CMD(OPTION_KEY_LIFETIME, NULL, "Device lifetime", cmd_anjay_config_set),
	SHELL_CMD(OPTION_KEY_PSK, NULL, "PSK", cmd_anjay_config_set),
	SHELL_CMD(OPTION_KEY_BOOTSTRAP, NULL, "Perform bootstrap", cmd_anjay_config_set),
#endif // CONFIG_ANJAY_CLIENT_FACTORY_PROVISIONING
#ifdef CONFIG_ANJAY_CLIENT_GPS_NRF
	SHELL_CMD(OPTION_KEY_GPS_NRF_PRIO_MODE_TIMEOUT, NULL,
		  "GPS priority mode timeout - determines (in seconds) for how "
		  "long the modem can run with LTE disabled, in case of "
		  "trouble with producing a GPS fix. Set to 0 to disable GPS "
		  "priority mode at all.",
		  cmd_anjay_config_set),
	SHELL_CMD(OPTION_KEY_GPS_NRF_PRIO_MODE_COOLDOWN, NULL,
		  "GPS priority mode cooldown - determines (in seconds) how "
		  "much time must pass after a failed try to produce a GPS fix "
		  "to enable GPS priority mode again.",
		  cmd_anjay_config_set),
#endif // CONFIG_ANJAY_CLIENT_GPS_NRF
#if defined(CONFIG_ANJAY_CLIENT_PERSISTENCE) && !defined(CONFIG_ANJAY_CLIENT_FACTORY_PROVISIONING)
	SHELL_CMD(
		OPTION_KEY_USE_PERSISTENCE, NULL,
		"Enables persistence of Access Control Object, Attribute Storage, Security Object and Server Object.",
		cmd_anjay_config_set),
#endif /* defined(CONFIG_ANJAY_CLIENT_PERSISTENCE) &&
	* !defined(CONFIG_ANJAY_CLIENT_FACTORY_PROVISIONING)
	*/
	SHELL_SUBCMD_SET_END);

SHELL_STATIC_SUBCMD_SET_CREATE(sub_anjay_config,
			       SHELL_CMD(default, NULL, "Restore the default config",
					 cmd_anjay_config_default),
			       SHELL_CMD(save, NULL, "Save Anjay config", cmd_anjay_config_save),
			       SHELL_CMD(set, &sub_anjay_config_set, "Change Anjay config", NULL),
			       SHELL_CMD(show, NULL, "Show Anjay config", cmd_anjay_config_show),
			       SHELL_SUBCMD_SET_END);
#endif // WITH_ANJAY_CLIENT_CONFIG

#ifdef CONFIG_ANJAY_CLIENT_LOCATION_SERVICES_MANUAL_CELL_BASED
SHELL_SUBCMD_DICT_SET_CREATE(
	sub_anjay_nls_cell_request, cmd_anjay_nls_cell_request,
	(inform_single, (void *)(uintptr_t)LOC_ASSIST_CELL_REQUEST_INFORM_SINGLE),
	(inform_multi, (void *)(uintptr_t)LOC_ASSIST_CELL_REQUEST_INFORM_MULTI),
	(request_single, (void *)(uintptr_t)LOC_ASSIST_CELL_REQUEST_REQUEST_SINGLE),
	(request_multi, (void *)(uintptr_t)LOC_ASSIST_CELL_REQUEST_REQUEST_MULTI));
#endif // CONFIG_ANJAY_CLIENT_LOCATION_SERVICES_MANUAL_CELL_BASED

SHELL_STATIC_SUBCMD_SET_CREATE(
	sub_anjay, SHELL_CMD(start, NULL, "Save config and start Anjay", cmd_anjay_start),
	SHELL_CMD(stop, NULL, "Stop Anjay", cmd_anjay_stop),
#ifdef WITH_ANJAY_CLIENT_CONFIG
	SHELL_CMD(config, &sub_anjay_config, "Configure Anjay params", NULL),
#endif // WITH_ANJAY_CLIENT_CONFIG
#ifdef CONFIG_ANJAY_CLIENT_LOCATION_SERVICES_MANUAL_CELL_BASED
	SHELL_CMD(nls_cell_request, &sub_anjay_nls_cell_request,
		  "Make a cell-based location request to Nordic Location Services", NULL),
#endif // CONFIG_ANJAY_CLIENT_LOCATION_SERVICES_MANUAL_CELL_BASED
#ifdef CONFIG_ANJAY_CLIENT_GPS_NRF_A_GPS
	SHELL_CMD(nls_agps_request, NULL, "Make a manual A-GPS request to Nordic Location Services",
		  cmd_anjay_nls_agps_request),
#endif // CONFIG_ANJAY_CLIENT_GPS_NRF_A_GPS
#ifdef CONFIG_ANJAY_CLIENT_PERSISTENCE
	SHELL_CMD(persistence_purge, NULL, "Purges persisted Anjay state",
		  cmd_anjay_persistence_purge),
#endif // CONFIG_ANJAY_CLIENT_PERSISTENCE
#if defined(CONFIG_NRF_MODEM_LIB) && defined(CONFIG_MODEM_KEY_MGMT)
	SHELL_CMD(session_cache_purge, NULL, "Remove the TLS session data cached in the nRF modem",
		  cmd_anjay_session_cache_purge),
#endif // defined(CONFIG_NRF_MODEM_LIB) && defined(CONFIG_MODEM_KEY_MGMT)
	SHELL_SUBCMD_SET_END);

SHELL_CMD_REGISTER(anjay, &sub_anjay, "Anjay commands", NULL);
```

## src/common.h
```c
/*
 * Copyright 2020-2022 AVSystem <avsystem@avsystem.com>
 *
 * Licensed under the Apache License, Version 2.0 (the "License");
 * you may not use this file except in compliance with the License.
 * You may obtain a copy of the License at
 *
 *     http://www.apache.org/licenses/LICENSE-2.0
 *
 * Unless required by applicable law or agreed to in writing, software
 * distributed under the License is distributed on an "AS IS" BASIS,
 * WITHOUT WARRANTIES OR CONDITIONS OF ANY KIND, either express or implied.
 * See the License for the specific language governing permissions and
 * limitations under the License.
 */

#pragma once

#include <stdatomic.h>
#include <stdlib.h>

#include <zephyr/kernel.h>
#include <zephyr/shell/shell.h>
#include <zephyr/shell/shell_uart.h>

#include <anjay/anjay.h>

#include "network/network.h"
#include "objects/objects.h"

extern volatile atomic_bool device_initialized;

extern anjay_t *volatile global_anjay;
extern struct k_mutex global_anjay_mutex;
extern volatile atomic_bool anjay_running;

#define ANJAY_THREAD_PRIO 1
#define ANJAY_THREAD_STACK_SIZE 8192
extern struct k_thread anjay_thread;
extern volatile bool anjay_thread_running;
extern struct k_mutex anjay_thread_running_mutex;
extern struct k_condvar anjay_thread_running_condvar;

void sched_update_anjay_network_bearer(void);

#ifdef CONFIG_ANJAY_CLIENT_LOCATION_SERVICES_MANUAL_CELL_BASED
struct cell_request_job_args {
	anjay_t *anjay;
	enum loc_assist_cell_request_type request_type;
};
avs_sched_clb_t cell_request_job;
#endif // CONFIG_ANJAY_CLIENT_LOCATION_SERVICES_MANUAL_CELL_BASED
#ifdef CONFIG_ANJAY_CLIENT_GPS_NRF_A_GPS
avs_sched_clb_t agps_request_job;
#endif // CONFIG_ANJAY_CLIENT_GPS_NRF_A_GPS
```

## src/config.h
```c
/*
 * Copyright 2020-2022 AVSystem <avsystem@avsystem.com>
 *
 * Licensed under the Apache License, Version 2.0 (the "License");
 * you may not use this file except in compliance with the License.
 * You may obtain a copy of the License at
 *
 *     http://www.apache.org/licenses/LICENSE-2.0
 *
 * Unless required by applicable law or agreed to in writing, software
 * distributed under the License is distributed on an "AS IS" BASIS,
 * WITHOUT WARRANTIES OR CONDITIONS OF ANY KIND, either express or implied.
 * See the License for the specific language governing permissions and
 * limitations under the License.
 */

#pragma once

#include <stdint.h>

#include <zephyr/shell/shell.h>

#ifdef CONFIG_WIFI
#include <zephyr/net/wifi_mgmt.h>
#endif // CONFIG_WIFI

#include "network/network.h"

#ifdef CONFIG_WIFI
#define OPTION_KEY_SSID wifi_ssid
#define OPTION_KEY_PASSWORD wifi_password
#endif // CONFIG_WIFI
#ifndef CONFIG_ANJAY_CLIENT_FACTORY_PROVISIONING
#define OPTION_KEY_URI uri
#define OPTION_KEY_EP_NAME endpoint
#define OPTION_KEY_LIFETIME lifetime
#define OPTION_KEY_PSK psk
#define OPTION_KEY_BOOTSTRAP bootstrap
#endif // CONFIG_ANJAY_CLIENT_FACTORY_PROVISIONING
#ifdef CONFIG_ANJAY_CLIENT_GPS_NRF
#define OPTION_KEY_GPS_NRF_PRIO_MODE_TIMEOUT gps_prio_mode_timeout
#define OPTION_KEY_GPS_NRF_PRIO_MODE_COOLDOWN gps_prio_mode_cooldown
#endif // CONFIG_ANJAY_CLIENT_GPS_NRF
#if defined(CONFIG_ANJAY_CLIENT_PERSISTENCE) && !defined(CONFIG_ANJAY_CLIENT_FACTORY_PROVISIONING)
#define OPTION_KEY_USE_PERSISTENCE use_persistence
#endif /* defined(CONFIG_ANJAY_CLIENT_PERSISTENCE) &&
	* !defined(CONFIG_ANJAY_CLIENT_FACTORY_PROVISIONING)
	*/

#if defined(CONFIG_WIFI) || defined(CONFIG_ANJAY_CLIENT_GPS_NRF) ||                                \
	!defined(CONFIG_ANJAY_CLIENT_FACTORY_PROVISIONING)
#define WITH_ANJAY_CLIENT_CONFIG
#endif /* defined(CONFIG_WIFI) || defined(CONFIG_ANJAY_CLIENT_GPS_NRF) ||
	* !defined(CONFIG_ANJAY_CLIENT_FACTORY_PROVISIONING)
	*/


const char *config_default_ep_name(void);

#ifdef WITH_ANJAY_CLIENT_CONFIG
void config_init(const struct shell *shell);
void config_save(const struct shell *shell);

void config_default_init(void);

void config_print_summary(const struct shell *shell);

int config_set_option(const struct shell *shell, size_t argc, char **argv);
#endif // WITH_ANJAY_CLIENT_CONFIG

#ifndef CONFIG_ANJAY_CLIENT_FACTORY_PROVISIONING
const char *config_get_endpoint_name(void);
#endif // CONFIG_ANJAY_CLIENT_FACTORY_PROVISIONING

#ifdef CONFIG_WIFI
const char *config_get_wifi_ssid(void);
const char *config_get_wifi_password(void);
struct wifi_connect_req_params config_get_wifi_params(void);
#endif // CONFIG_WIFI


#ifndef CONFIG_ANJAY_CLIENT_FACTORY_PROVISIONING
const char *config_get_server_uri(void);

uint32_t config_get_lifetime(void);

const char *config_get_psk(void);

bool config_is_bootstrap(void);
#endif // CONFIG_ANJAY_CLIENT_FACTORY_PROVISIONING

#ifdef CONFIG_ANJAY_CLIENT_GPS_NRF
uint32_t config_get_gps_nrf_prio_mode_timeout(void);

uint32_t config_get_gps_nrf_prio_mode_cooldown(void);
#endif // CONFIG_ANJAY_CLIENT_GPS_NRF

#ifdef CONFIG_ANJAY_CLIENT_PERSISTENCE
#ifdef CONFIG_ANJAY_CLIENT_FACTORY_PROVISIONING
static inline bool config_is_use_persistence(void)
{
	return true;
}
#else // CONFIG_ANJAY_CLIENT_FACTORY_PROVISIONING
bool config_is_use_persistence(void);
#endif // CONFIG_ANJAY_CLIENT_FACTORY_PROVISIONING
#endif // CONFIG_ANJAY_CLIENT_PERSISTENCE
```

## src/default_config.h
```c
/*
 * Copyright 2020-2022 AVSystem <avsystem@avsystem.com>
 *
 * Licensed under the Apache License, Version 2.0 (the "License");
 * you may not use this file except in compliance with the License.
 * You may obtain a copy of the License at
 *
 *     http://www.apache.org/licenses/LICENSE-2.0
 *
 * Unless required by applicable law or agreed to in writing, software
 * distributed under the License is distributed on an "AS IS" BASIS,
 * WITHOUT WARRANTIES OR CONDITIONS OF ANY KIND, either express or implied.
 * See the License for the specific language governing permissions and
 * limitations under the License.
 */

#pragma once

#include "config.h"

#define CLIENT_VERSION "22.12"

#ifdef CONFIG_WIFI
#define WIFI_SSID "ssid"

#define WIFI_PASSWORD "password"
#endif // CONFIG_WIFI


#define SERVER_URI "coaps://eu.iot.avsystem.cloud:5684"

#define LIFETIME "50"

#define PSK_KEY "psk"

#define BOOTSTRAP "n"

#ifdef CONFIG_ANJAY_CLIENT_GPS_NRF
#define GPS_NRF_PRIO_MODE_TIMEOUT "300"

#define GPS_NRF_PRIO_MODE_COOLDOWN "1800"
#endif // CONFIG_ANJAY_CLIENT_GPS_NRF

#ifdef CONFIG_ANJAY_CLIENT_PERSISTENCE
#define USE_PERSISTENCE "n"
#endif // CONFIG_ANJAY_CLIENT_PERSISTENCE

#define NTP_SERVER "time.nist.gov"
```

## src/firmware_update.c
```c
/*
 * Copyright 2020-2022 AVSystem <avsystem@avsystem.com>
 *
 * Licensed under the Apache License, Version 2.0 (the "License");
 * you may not use this file except in compliance with the License.
 * You may obtain a copy of the License at
 *
 *     http://www.apache.org/licenses/LICENSE-2.0
 *
 * Unless required by applicable law or agreed to in writing, software
 * distributed under the License is distributed on an "AS IS" BASIS,
 * WITHOUT WARRANTIES OR CONDITIONS OF ANY KIND, either express or implied.
 * See the License for the specific language governing permissions and
 * limitations under the License.
 */
#include <anjay/fw_update.h>

#include <stdbool.h>

#include <zephyr/dfu/flash_img.h>
#include <zephyr/dfu/mcuboot.h>
#include <zephyr/logging/log.h>
#include <zephyr/logging/log_ctrl.h>
#include <zephyr/settings/settings.h>
#include <zephyr/sys/reboot.h>

#include "firmware_update.h"
#include "utils.h"

LOG_MODULE_REGISTER(fw_update);

#define SETTINGS_ROOT_NAME "anjay_fw_update"
#define SETTINGS_APP_JUST_UPDATED_KEY "app_just_updated"

static bool just_updated;
static bool update_requested;

static struct flash_img_context img_ctx;
static bool img_ctx_initialized;

static int fw_stream_open(void *user_ptr, const char *package_uri,
			  const struct anjay_etag *package_etag)
{
	(void)user_ptr;
	(void)package_uri;
	(void)package_etag;

	assert(!img_ctx_initialized);

	memset(&img_ctx, 0, sizeof(img_ctx));
	if (flash_img_init(&img_ctx)) {
		return -1;
	}

	img_ctx_initialized = true;
	return 0;
}

static int fw_stream_write(void *user_ptr, const void *data, size_t length)
{
	(void)user_ptr;

	assert(img_ctx_initialized);

	if (flash_img_buffered_write(&img_ctx, data, length, false)) {
		return -1;
	}
	return 0;
}

static int fw_stream_finish(void *user_ptr)
{
	(void)user_ptr;

	assert(img_ctx_initialized);

	int result = flash_img_buffered_write(&img_ctx, NULL, 0, true) ? -1 : 0;

	img_ctx_initialized = false;
	return result;
}

static void fw_reset(void *user_ptr)
{
	(void)user_ptr;

	img_ctx_initialized = false;
}

static const char *fw_get_version(void *user_ptr)
{
	(void)user_ptr;

	static char fw_version[BOOT_IMG_VER_STRLEN_MAX];

	if (get_fw_version_image_1(fw_version, sizeof(fw_version))) {
		return NULL;
	}

	return fw_version;
}

static int fw_perform_upgrade(void *anjay_)
{
	anjay_t *anjay = (anjay_t *)anjay_;

	if (boot_request_upgrade(BOOT_UPGRADE_TEST)) {
		return -1;
	}

	anjay_event_loop_interrupt(anjay);
	update_requested = true;
	return 0;
}

static const anjay_fw_update_handlers_t handlers = { .stream_open = fw_stream_open,
						     .stream_write = fw_stream_write,
						     .stream_finish = fw_stream_finish,
						     .reset = fw_reset,
						     .get_version = fw_get_version,
						     .perform_upgrade = fw_perform_upgrade };

int fw_update_install(anjay_t *anjay)
{
	anjay_fw_update_initial_state_t state = { 0 };

	if (just_updated) {
		state.result = ANJAY_FW_UPDATE_INITIAL_SUCCESS;
	}

	int result = anjay_fw_update_install(anjay, &handlers, anjay, &state);

	if (!result && just_updated) {
		if (settings_delete(SETTINGS_ROOT_NAME "/" SETTINGS_APP_JUST_UPDATED_KEY)) {
			LOG_ERR("Couldn't delete the just_updated flag");
		}

		just_updated = false;
	}

	return result;
}

static int fw_settings_set(const char *key, size_t len, settings_read_cb read_cb, void *cb_arg)
{
	if (strcmp(key, SETTINGS_APP_JUST_UPDATED_KEY) != 0) {
		return -ENOENT;
	}

	if (len > 1) {
		return -EINVAL;
	}

	char value = 0;

	int result = read_cb(cb_arg, &value, len);

	if (result < 0) {
		return result;
	}

	if (value != 0) {
		just_updated = true;
	}

	return 0;
}

SETTINGS_STATIC_HANDLER_DEFINE(anjay_fw_update, SETTINGS_ROOT_NAME, NULL, fw_settings_set, NULL,
			       NULL);

void fw_update_apply(void)
{
	int settings_state = settings_subsys_init();

	if (settings_state) {
		LOG_ERR("Couldn't init settings subsystem");
	} else {
		settings_load_subtree(SETTINGS_ROOT_NAME);
	}

	if (just_updated) {
		LOG_INF("Undelivered previous firmware update success");
	}

	// Image may be unconfirmed, because:
	// - we've just did a FOTA of the device and new
	//   firmware is being run
	// - the firmware was flashed using external programmer
	//
	// In both cases we want to mark the image as
	// confirmed (to either accept the new firmware,
	// or put MCUBoot in consistent state after flashing),
	// but only in the former case we should notify the
	// server that we've successfully updated the firmware.
	//
	// We can differentiate these two situations by taking
	// the retval of boot_write_img_confirmed().
	if (!boot_is_img_confirmed() && !boot_write_img_confirmed()) {
		LOG_INF("Successfully updated firmware");

		if (!just_updated) {
			just_updated = true;

			if (settings_save_one(SETTINGS_ROOT_NAME "/" SETTINGS_APP_JUST_UPDATED_KEY,
					      "1", 1)) {
				LOG_ERR("Couldn't save the just_updated flag");
			}
		}
	}
}

bool fw_update_requested(void)
{
	return update_requested;
}

void fw_update_reboot(void)
{
	LOG_INF("Rebooting to perform a firmware upgrade...");
	LOG_PANIC();
	sys_reboot(SYS_REBOOT_WARM);
}
```

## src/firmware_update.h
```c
/*
 * Copyright 2020-2022 AVSystem <avsystem@avsystem.com>
 *
 * Licensed under the Apache License, Version 2.0 (the "License");
 * you may not use this file except in compliance with the License.
 * You may obtain a copy of the License at
 *
 *     http://www.apache.org/licenses/LICENSE-2.0
 *
 * Unless required by applicable law or agreed to in writing, software
 * distributed under the License is distributed on an "AS IS" BASIS,
 * WITHOUT WARRANTIES OR CONDITIONS OF ANY KIND, either express or implied.
 * See the License for the specific language governing permissions and
 * limitations under the License.
 */

#pragma once

#include <anjay/anjay.h>
#include <anjay/fw_update.h>

#ifdef CONFIG_ANJAY_CLIENT_FOTA
int fw_update_install(anjay_t *anjay);
void fw_update_apply(void);
bool fw_update_requested(void);
void fw_update_reboot(void);
#endif // CONFIG_ANJAY_CLIENT_FOTA
```

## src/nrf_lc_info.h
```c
/*
 * Copyright 2020-2022 AVSystem <avsystem@avsystem.com>
 *
 * Licensed under the Apache License, Version 2.0 (the "License");
 * you may not use this file except in compliance with the License.
 * You may obtain a copy of the License at
 *
 *     http://www.apache.org/licenses/LICENSE-2.0
 *
 * Unless required by applicable law or agreed to in writing, software
 * distributed under the License is distributed on an "AS IS" BASIS,
 * WITHOUT WARRANTIES OR CONDITIONS OF ANY KIND, either express or implied.
 * See the License for the specific language governing permissions and
 * limitations under the License.
 */

#pragma once

#include <stdatomic.h>
#include <stdbool.h>

#include <zephyr/kernel.h>

#include <modem/lte_lc.h>
#include <modem/modem_info.h>

/**
 * Contains last known tracked state from nRF Link Control library.
 */
struct nrf_lc_info {
	enum lte_lc_lte_mode lte_mode;
	struct lte_lc_cells_info cells;
	char ip_addr[MODEM_INFO_MAX_RESPONSE_SIZE];
	struct {
		struct lte_lc_ncell neighbor_cells[CONFIG_LTE_NEIGHBOR_CELLS_MAX];
	} storage;
};

int initialize_nrf_lc_info_listener(void);
void nrf_lc_info_get(struct nrf_lc_info *out);
bool nrf_lc_info_get_if_changed(struct nrf_lc_info *out);
```
